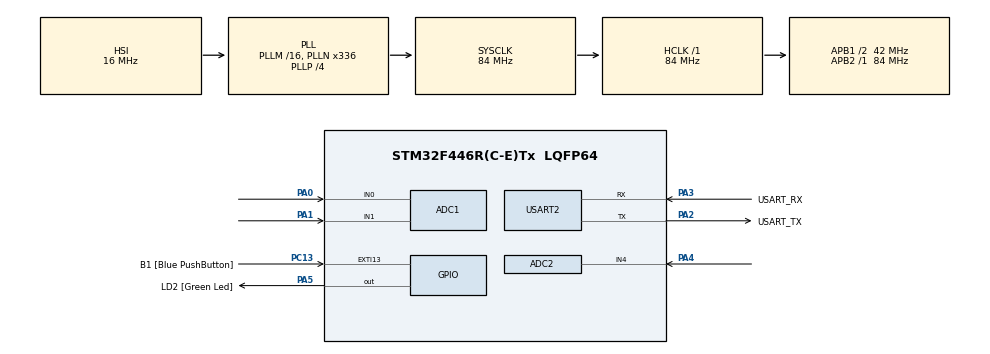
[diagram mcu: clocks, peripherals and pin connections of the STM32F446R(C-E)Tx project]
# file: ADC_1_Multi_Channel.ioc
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ADC1.Channel-0\#ChannelRegularConversion=ADC_CHANNEL_0
ADC1.Channel-1\#ChannelRegularConversion=ADC_CHANNEL_1
ADC1.ContinuousConvMode=ENABLE
ADC1.NbrOfConversion=2
ADC1.NbrOfConversionFlag=1
ADC1.Rank-0\#ChannelRegularConversion=1
ADC1.Rank-1\#ChannelRegularConversion=2
ADC1.SamplingTime-0\#ChannelRegularConversion=ADC_SAMPLETIME_28CYCLES
ADC1.SamplingTime-1\#ChannelRegularConversion=ADC_SAMPLETIME_84CYCLES
ADC1.ScanConvMode=ENABLE
ADC1.master=1
ADC2.Channel-1\#ChannelRegularConversion=ADC_CHANNEL_4
ADC2.ContinuousConvMode=ENABLE
ADC2.NbrOfConversionFlag=1
ADC2.Rank-1\#ChannelRegularConversion=1
ADC2.SamplingTime-1\#ChannelRegularConversion=ADC_SAMPLETIME_28CYCLES
ADC2.ScanConvMode=ENABLE
Mcu.Family=STM32F4
Mcu.Name=STM32F446R(C-E)Tx
Mcu.Package=LQFP64
NVIC.PriorityGroup=NVIC_PRIORITYGROUP_0
PA0-WKUP.Signal=ADCx_IN0
PA1.Signal=ADCx_IN1
PA13.GPIO_Label=TMS
PA13.Mode=Serial_Wire
PA13.Signal=SYS_JTMS-SWDIO
PA14.GPIO_Label=TCK
PA14.Mode=Serial_Wire
PA14.Signal=SYS_JTCK-SWCLK
PA2.GPIO_Label=USART_TX
PA2.Mode=Asynchronous
PA2.Signal=USART2_TX
PA3.GPIO_Label=USART_RX
PA3.Mode=Asynchronous
PA3.Signal=USART2_RX
PA4.Signal=ADCx_IN4
PA5.GPIO_Label=LD2 [Green Led]
PA5.Signal=GPIO_Output
PB3.GPIO_Label=SWO
PB3.Signal=SYS_JTDO-SWO
PC13.GPIO_Label=B1 [Blue PushButton]
PC13.GPIO_ModeDefaultEXTI=GPIO_MODE_IT_FALLING
PC13.Signal=GPXTI13
PC14-OSC32_IN.Mode=LSE-External-Oscillator
PC14-OSC32_IN.Signal=RCC_OSC32_IN
PC15-OSC32_OUT.Mode=LSE-External-Oscillator
PC15-OSC32_OUT.Signal=RCC_OSC32_OUT
PH0-OSC_IN.Mode=HSE-External-Oscillator
PH0-OSC_IN.Signal=RCC_OSC_IN
PH1-OSC_OUT.Mode=HSE-External-Oscillator
PH1-OSC_OUT.Signal=RCC_OSC_OUT
ProjectManager.HeapSize=0x200
ProjectManager.StackSize=0x400
ProjectManager.TargetToolchain=STM32CubeIDE
RCC.48MHZClocksFreq_Value=84000000
RCC.AHBFreq_Value=84000000
RCC.APB1CLKDivider=RCC_HCLK_DIV2
RCC.APB1Freq_Value=42000000
RCC.APB1TimFreq_Value=84000000
RCC.APB2Freq_Value=84000000
RCC.APB2TimFreq_Value=84000000
RCC.CortexFreq_Value=84000000
RCC.FLatency-AdvancedSettings=FLASH_LATENCY_2
RCC.HCLKFreq_Value=84000000
RCC.HSE_VALUE=8000000
RCC.HSI_VALUE=16000000
RCC.PLLN=336
RCC.PLLP=RCC_PLLP_DIV4
RCC.SYSCLKFreq_VALUE=84000000
RCC.SYSCLKSource=RCC_SYSCLKSOURCE_PLLCLK
RCC.USBFreq_Value=168000000
RCC.VCOOutputFreq_Value=336000000
SH.ADCx_IN0.0=ADC1_IN0,IN0
SH.ADCx_IN1.0=ADC1_IN1,IN1
SH.ADCx_IN4.0=ADC2_IN4,IN4
USART2.VirtualMode=VM_ASYNC
board=NUCLEO-F446RE

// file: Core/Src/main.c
/* USER CODE BEGIN Header */
/**
  ******************************************************************************
  * @file           : main.c
  * @brief          : Main program body
  ******************************************************************************
  * @attention
  *
  * Copyright (c) 2023 STMicroelectronics.
  * All rights reserved.
  *
  * This software is licensed under terms that can be found in the LICENSE file
  * in the root directory of this software component.
  * If no LICENSE file comes with this software, it is provided AS-IS.
  *
  ******************************************************************************
  */
/* USER CODE END Header */
#include "main.h"

/* USER CODE BEGIN Includes */
#include <stdio.h>
#include <string.h>
/* USER CODE END Includes */

ADC_HandleTypeDef hadc1;
ADC_HandleTypeDef hadc2;

UART_HandleTypeDef huart2;

/* USER CODE BEGIN PV */

uint16_t adc0_0,adc0_1,adc1_4;
char arr[25] = {0};
ADC_ChannelConfTypeDef sConfig = {0};

/* USER CODE END PV */

void SystemClock_Config(void);
static void MX_GPIO_Init(void);
static void MX_USART2_UART_Init(void);
static void MX_ADC1_Init(void);
static void MX_ADC2_Init(void);
/* USER CODE BEGIN PFP */

uint16_t ADC_Multi(ADC_HandleTypeDef adc,uint16_t channel,uint32_t sampling) ;
/* USER CODE END PFP */

int main(void)
{

  /* MCU Configuration--------------------------------------------------------*/

  /* Reset of all peripherals, Initializes the Flash interface and the Systick. */
  HAL_Init();

  /* Configure the system clock */
  SystemClock_Config();

  /* Initialize all configured peripherals */
  MX_GPIO_Init();
  MX_USART2_UART_Init();
  MX_ADC1_Init();
  MX_ADC2_Init();

  /* Infinite loop */
  /* USER CODE BEGIN WHILE */
  while (1)
  {

	  adc0_0 = ADC_Multi(hadc1, ADC_CHANNEL_0,ADC_SAMPLETIME_28CYCLES);
	  sprintf(arr,"\r\nADC 0 Channel 0 : %04d\r\n",adc0_0);
	  HAL_UART_Transmit(&huart2,(uint8_t *) arr, strlen(arr), HAL_MAX_DELAY);
	  HAL_Delay(500);

	  adc0_1 = ADC_Multi(hadc1, ADC_CHANNEL_1,ADC_SAMPLETIME_28CYCLES);
	  sprintf(arr,"\r\nADC 0 Channel 1 : %04d\r\n",adc0_1);
	  HAL_UART_Transmit(&huart2,(uint8_t *) arr, strlen(arr), HAL_MAX_DELAY);
	  HAL_Delay(500);

	  adc1_4 = ADC_Multi(hadc2, ADC_CHANNEL_4,ADC_SAMPLETIME_28CYCLES);
	  sprintf(arr,"\r\nADC 1 Channel 4 : %04d\r\n",adc1_4);
	  HAL_UART_Transmit(&huart2,(uint8_t *) arr, strlen(arr), HAL_MAX_DELAY);
	  HAL_Delay(500);

    /* USER CODE END WHILE */

  }
}

void SystemClock_Config(void)
{
  RCC_OscInitTypeDef RCC_OscInitStruct = {0};
  RCC_ClkInitTypeDef RCC_ClkInitStruct = {0};

  /** Configure the main internal regulator output voltage
  */
  __HAL_RCC_PWR_CLK_ENABLE();
  __HAL_PWR_VOLTAGESCALING_CONFIG(PWR_REGULATOR_VOLTAGE_SCALE3);

  /** Initializes the RCC Oscillators according to the specified parameters
  * in the RCC_OscInitTypeDef structure.
  */
  RCC_OscInitStruct.OscillatorType = RCC_OSCILLATORTYPE_HSI;
  RCC_OscInitStruct.HSIState = RCC_HSI_ON;
  RCC_OscInitStruct.HSICalibrationValue = RCC_HSICALIBRATION_DEFAULT;
  RCC_OscInitStruct.PLL.PLLState = RCC_PLL_ON;
  RCC_OscInitStruct.PLL.PLLSource = RCC_PLLSOURCE_HSI;
  RCC_OscInitStruct.PLL.PLLM = 16;
  RCC_OscInitStruct.PLL.PLLN = 336;
  RCC_OscInitStruct.PLL.PLLP = RCC_PLLP_DIV4;
  RCC_OscInitStruct.PLL.PLLQ = 2;
  RCC_OscInitStruct.PLL.PLLR = 2;
  if (HAL_RCC_OscConfig(&RCC_OscInitStruct) != HAL_OK)
  {
    Error_Handler();
  }

  /** Initializes the CPU, AHB and APB buses clocks
  */
  RCC_ClkInitStruct.ClockType = RCC_CLOCKTYPE_HCLK|RCC_CLOCKTYPE_SYSCLK
                              |RCC_CLOCKTYPE_PCLK1|RCC_CLOCKTYPE_PCLK2;
  RCC_ClkInitStruct.SYSCLKSource = RCC_SYSCLKSOURCE_PLLCLK;
  RCC_ClkInitStruct.AHBCLKDivider = RCC_SYSCLK_DIV1;
  RCC_ClkInitStruct.APB1CLKDivider = RCC_HCLK_DIV2;
  RCC_ClkInitStruct.APB2CLKDivider = RCC_HCLK_DIV1;

  if (HAL_RCC_ClockConfig(&RCC_ClkInitStruct, FLASH_LATENCY_2) != HAL_OK)
  {
    Error_Handler();
  }
}

static void MX_ADC1_Init(void)
{

  ADC_ChannelConfTypeDef sConfig = {0};

  /** Configure the global features of the ADC (Clock, Resolution, Data Alignment and number of conversion)
  */
  hadc1.Instance = ADC1;
  hadc1.Init.ClockPrescaler = ADC_CLOCK_SYNC_PCLK_DIV4;
  hadc1.Init.Resolution = ADC_RESOLUTION_12B;
  hadc1.Init.ScanConvMode = ENABLE;
  hadc1.Init.ContinuousConvMode = ENABLE;
  hadc1.Init.DiscontinuousConvMode = DISABLE;
  hadc1.Init.ExternalTrigConvEdge = ADC_EXTERNALTRIGCONVEDGE_NONE;
  hadc1.Init.ExternalTrigConv = ADC_SOFTWARE_START;
  hadc1.Init.DataAlign = ADC_DATAALIGN_RIGHT;
  hadc1.Init.NbrOfConversion = 2;
  hadc1.Init.DMAContinuousRequests = DISABLE;
  hadc1.Init.EOCSelection = ADC_EOC_SINGLE_CONV;
  if (HAL_ADC_Init(&hadc1) != HAL_OK)
  {
    Error_Handler();
  }

  /** Configure for the selected ADC regular channel its corresponding rank in the sequencer and its sample time.
  */
  sConfig.Channel = ADC_CHANNEL_0;
  sConfig.Rank = 1;
  sConfig.SamplingTime = ADC_SAMPLETIME_28CYCLES;
  if (HAL_ADC_ConfigChannel(&hadc1, &sConfig) != HAL_OK)
  {
    Error_Handler();
  }

  /** Configure for the selected ADC regular channel its corresponding rank in the sequencer and its sample time.
  */
  sConfig.Channel = ADC_CHANNEL_1;
  sConfig.Rank = 2;
  sConfig.SamplingTime = ADC_SAMPLETIME_84CYCLES;
  if (HAL_ADC_ConfigChannel(&hadc1, &sConfig) != HAL_OK)
  {
    Error_Handler();
  }

}

static void MX_ADC2_Init(void)
{

  ADC_ChannelConfTypeDef sConfig = {0};

  /** Configure the global features of the ADC (Clock, Resolution, Data Alignment and number of conversion)
  */
  hadc2.Instance = ADC2;
  hadc2.Init.ClockPrescaler = ADC_CLOCK_SYNC_PCLK_DIV4;
  hadc2.Init.Resolution = ADC_RESOLUTION_12B;
  hadc2.Init.ScanConvMode = ENABLE;
  hadc2.Init.ContinuousConvMode = ENABLE;
  hadc2.Init.DiscontinuousConvMode = DISABLE;
  hadc2.Init.ExternalTrigConvEdge = ADC_EXTERNALTRIGCONVEDGE_NONE;
  hadc2.Init.ExternalTrigConv = ADC_SOFTWARE_START;
  hadc2.Init.DataAlign = ADC_DATAALIGN_RIGHT;
  hadc2.Init.NbrOfConversion = 1;
  hadc2.Init.DMAContinuousRequests = DISABLE;
  hadc2.Init.EOCSelection = ADC_EOC_SINGLE_CONV;
  if (HAL_ADC_Init(&hadc2) != HAL_OK)
  {
    Error_Handler();
  }

  /** Configure for the selected ADC regular channel its corresponding rank in the sequencer and its sample time.
  */
  sConfig.Channel = ADC_CHANNEL_4;
  sConfig.Rank = 1;
  sConfig.SamplingTime = ADC_SAMPLETIME_28CYCLES;
  if (HAL_ADC_ConfigChannel(&hadc2, &sConfig) != HAL_OK)
  {
    Error_Handler();
  }

}

static void MX_USART2_UART_Init(void)
{

  huart2.Instance = USART2;
  huart2.Init.BaudRate = 115200;
  huart2.Init.WordLength = UART_WORDLENGTH_8B;
  huart2.Init.StopBits = UART_STOPBITS_1;
  huart2.Init.Parity = UART_PARITY_NONE;
  huart2.Init.Mode = UART_MODE_TX_RX;
  huart2.Init.HwFlowCtl = UART_HWCONTROL_NONE;
  huart2.Init.OverSampling = UART_OVERSAMPLING_16;
  if (HAL_UART_Init(&huart2) != HAL_OK)
  {
    Error_Handler();
  }

}

static void MX_GPIO_Init(void)
{
  GPIO_InitTypeDef GPIO_InitStruct = {0};

  /* GPIO Ports Clock Enable */
  __HAL_RCC_GPIOC_CLK_ENABLE();
  __HAL_RCC_GPIOH_CLK_ENABLE();
  __HAL_RCC_GPIOA_CLK_ENABLE();
  __HAL_RCC_GPIOB_CLK_ENABLE();

  /*Configure GPIO pin Output Level */
  HAL_GPIO_WritePin(LD2_GPIO_Port, LD2_Pin, GPIO_PIN_RESET);

  /*Configure GPIO pin : B1_Pin */
  GPIO_InitStruct.Pin = B1_Pin;
  GPIO_InitStruct.Mode = GPIO_MODE_IT_FALLING;
  GPIO_InitStruct.Pull = GPIO_NOPULL;
  HAL_GPIO_Init(B1_GPIO_Port, &GPIO_InitStruct);

  /*Configure GPIO pin : LD2_Pin */
  GPIO_InitStruct.Pin = LD2_Pin;
  GPIO_InitStruct.Mode = GPIO_MODE_OUTPUT_PP;
  GPIO_InitStruct.Pull = GPIO_NOPULL;
  GPIO_InitStruct.Speed = GPIO_SPEED_FREQ_LOW;
  HAL_GPIO_Init(LD2_GPIO_Port, &GPIO_InitStruct);

}

/* USER CODE BEGIN 4 */
uint16_t ADC_Multi(ADC_HandleTypeDef adc,uint16_t channel,uint32_t sampling) {

	  uint16_t ad = 0;
	  sConfig.Channel = channel;
	  sConfig.Rank = 1;
	  sConfig.SamplingTime = sampling;
	  if (HAL_ADC_ConfigChannel(&adc, &sConfig) != HAL_OK)
	  {
		Error_Handler();
	  }

	  HAL_ADC_Start(&adc);
	  if(HAL_ADC_PollForConversion(&adc, 5) == HAL_OK){

		  ad = HAL_ADC_GetValue(&adc);

	  }
	  return ad;
}
/* USER CODE END 4 */

void Error_Handler(void)
{
  __disable_irq();
  while (1)
  {
  }
}
